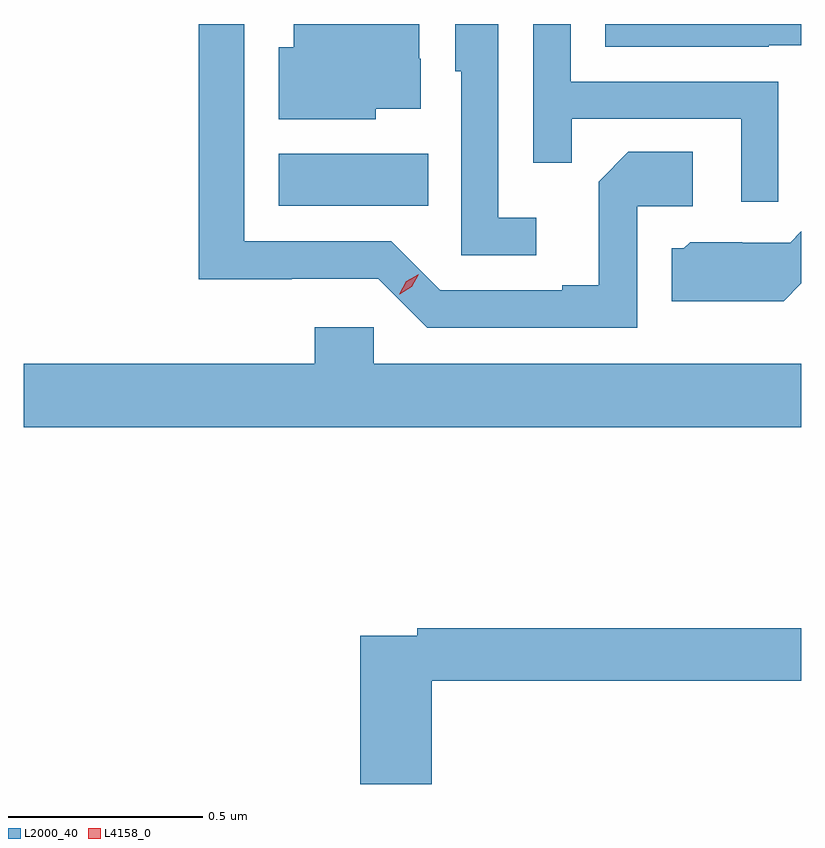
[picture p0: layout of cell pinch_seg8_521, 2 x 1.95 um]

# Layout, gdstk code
import gdstk
lib = gdstk.Library(unit=1e-6, precision=1e-09)
def R(c, l, rs):  # rectangles x0, y0, x1, y1
    for r in rs: c.add(gdstk.rectangle(r[:2], r[2:], *l))
def P(c, l, *ps):  # polygons
    for p in ps: c.add(gdstk.Polygon(p, *l))
L2000_40 = (2000, 40)
L4158_0 = (4158, 0)

pinch_seg8_521 = lib.new_cell('pinch_seg8_521')
R(pinch_seg8_521, L2000_40, [(202.196,1115.738,202.58,1115.872)])
P(pinch_seg8_521, L2000_40, [(203.456,1116.15),(203.54,1116.15),(203.54,1116.205),(203.036,1116.205),(203.036,1116.146),(203.456,1116.146)],
  [(202.858,1115.707),(202.761,1115.707),(202.761,1116.205),(202.65,1116.205),(202.65,1116.084),(202.665,1116.084),(202.665,1115.61),(202.858,1115.61)],
  [(203.118,1115.736),(203.26,1115.736),(203.26,1115.876),(203.095,1115.876),(203.019,1115.8),(203.019,1115.533),(202.925,1115.533),(202.925,1115.52),(202.611,1115.52),(202.485,1115.646),(202.108,1115.646),(202.108,1116.205),(201.99,1116.205),(201.99,1115.549),(202.23,1115.549),(202.23,1115.55),(202.452,1115.55),(202.578,1115.424),(203.118,1115.424)],
  [(202.446,1115.987),(202.561,1115.987),(202.561,1116.116),(202.557,1116.116),(202.557,1116.205),(202.235,1116.205),(202.235,1116.145),(202.196,1116.145),(202.196,1115.96),(202.446,1115.96)],
  [(203.481,1116.057),(202.947,1116.057),(202.947,1116.205),(202.851,1116.205),(202.851,1115.848),(202.949,1115.848),(202.949,1115.961),(203.385,1115.961),(203.385,1115.748),(203.481,1115.748)],
  [(203.54,1115.538),(203.54,1115.672),(203.511,1115.643),(203.388,1115.643),(203.388,1115.644),(203.254,1115.644),(203.238,1115.628),(203.207,1115.628),(203.207,1115.492),(203.495,1115.492)],
  [(203.54,1115.332),(202.44,1115.332),(202.44,1115.425),(202.289,1115.425),(202.289,1115.332),(201.54,1115.332),(201.54,1115.168),(203.54,1115.168)],
  [(202.589,1114.516),(203.54,1114.516),(203.54,1114.652),(202.552,1114.652),(202.552,1114.632),(202.406,1114.632),(202.406,1114.251),(202.589,1114.251)])
P(pinch_seg8_521, L4158_0, [(202.506,1115.51),(202.506,1115.51),(202.524,1115.543),(202.556,1115.561),(202.556,1115.561),(202.556,1115.561),(202.538,1115.529),(202.507,1115.51)])

lib.write_gds('pinch_seg8_521.gds')
